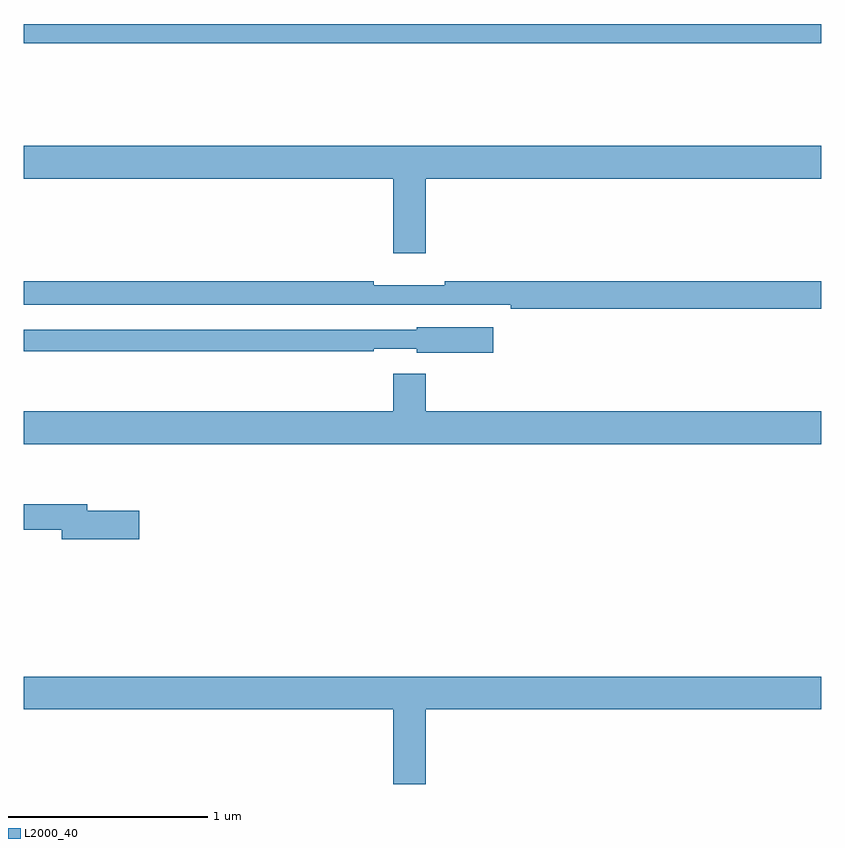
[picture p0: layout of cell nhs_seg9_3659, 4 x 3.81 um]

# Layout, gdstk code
import gdstk
lib = gdstk.Library(unit=1e-6, precision=1e-09)
def R(c, l, rs):  # rectangles x0, y0, x1, y1
    for r in rs: c.add(gdstk.rectangle(r[:2], r[2:], *l))
def P(c, l, *ps):  # polygons
    for p in ps: c.add(gdstk.Polygon(p, *l))
L2000_40 = (2000, 40)

nhs_seg9_3659 = lib.new_cell('nhs_seg9_3659')
R(nhs_seg9_3659, L2000_40, [(319,1226.404,323,1226.5)])
P(nhs_seg9_3659, L2000_40, [(321.016,1225.724),(323,1225.724),(323,1225.888),(319,1225.888),(319,1225.724),(320.852,1225.724),(320.852,1225.35),(321.016,1225.35)],
  [(323,1225.208),(321.112,1225.208),(321.112,1225.189),(320.756,1225.189),(320.756,1225.208),(319,1225.208),(319,1225.092),(321.442,1225.092),(321.442,1225.072),(323,1225.072)],
  [(321.355,1224.979),(320.97,1224.979),(320.97,1224.966),(319,1224.966),(319,1224.858),(320.756,1224.858),(320.756,1224.87),(320.97,1224.87),(320.97,1224.85),(321.355,1224.85)],
  [(323,1224.556),(321.016,1224.556),(321.016,1224.745),(320.852,1224.745),(320.852,1224.556),(319,1224.556),(319,1224.392),(323,1224.392)],
  [(319.579,1224.057),(319.318,1224.057),(319.318,1224.091),(319,1224.091),(319,1223.962),(319.19,1223.962),(319.19,1223.915),(319.579,1223.915)],
  [(321.016,1223.06),(323,1223.06),(323,1223.224),(319,1223.224),(319,1223.06),(320.852,1223.06),(320.852,1222.686),(321.016,1222.686)])

lib.write_gds('nhs_seg9_3659.gds')
